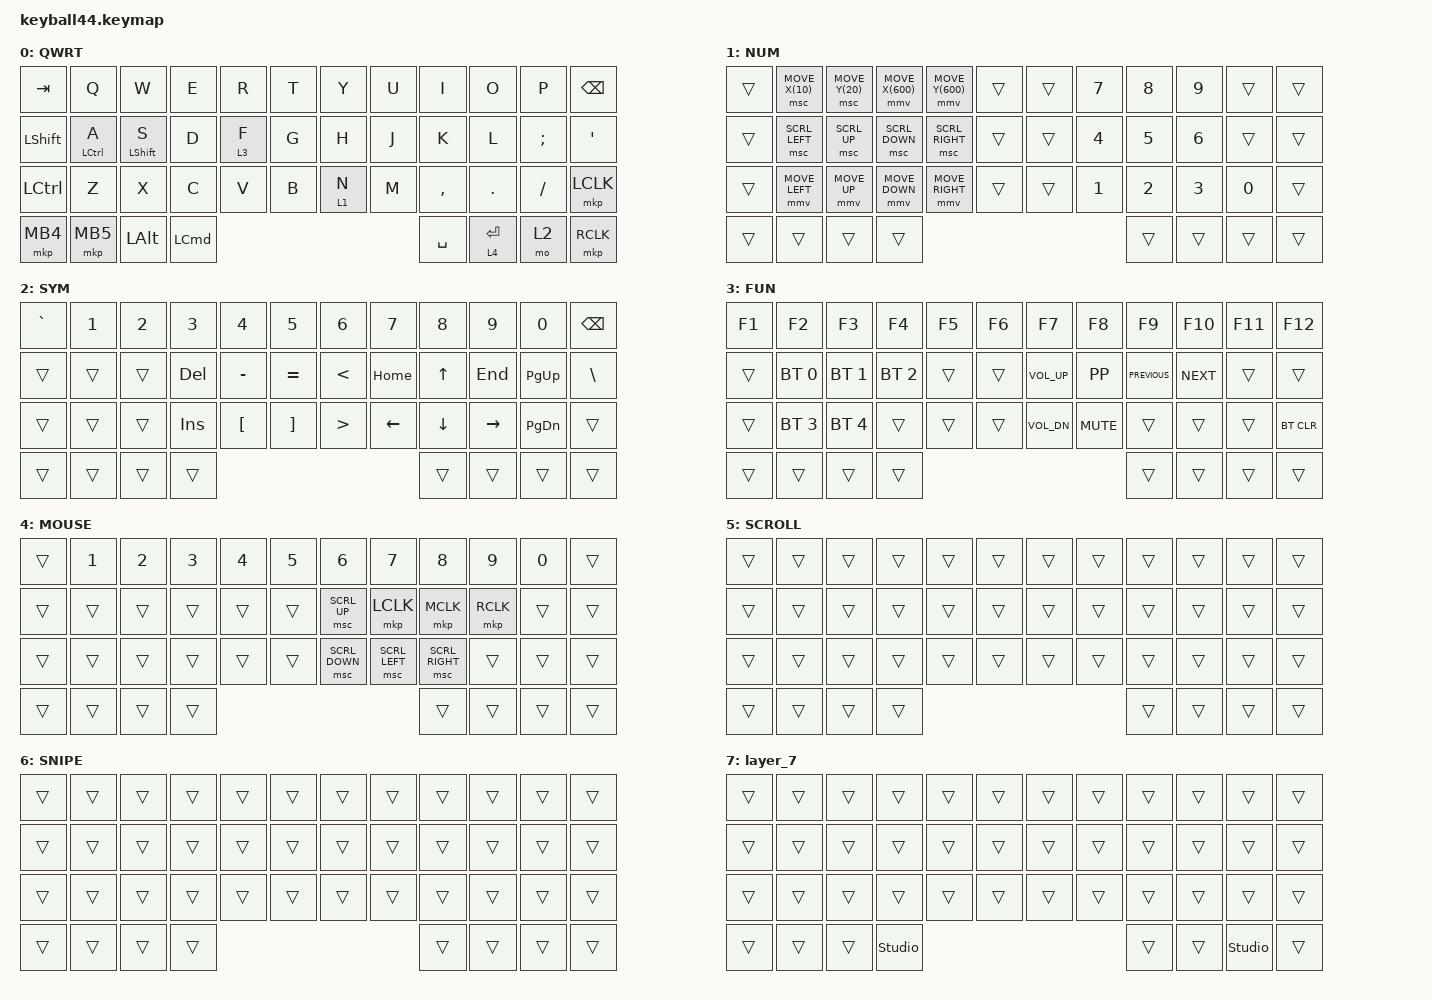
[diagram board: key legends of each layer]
#define DEFAULT 0
#define NUM     1
#define SYM     2
#define FUN     3
#define MOUSE   4
#define SCROLL  5
#define SNIPE   6
#define ZMK_POINTING_DEFAULT_MOVE_VAL 1500  // default: 600
#define ZMK_POINTING_DEFAULT_SCRL_VAL 80    // default: 10

#include <behaviors/mouse_keys.dtsi>
#include <dt-bindings/zmk/mouse.h>
#include <behaviors.dtsi>
#include <dt-bindings/zmk/bt.h>
#include <dt-bindings/zmk/keys.h>
#include <dt-bindings/zmk/pointing.h>

&lt {
    tapping-term-ms = <240>;
    flavor = "balanced";
    quick-tap-ms = <150>;
};

&mt {
    tapping-term-ms = <200>;
    flavor = "tap-preferred";
    quick-tap-ms = <150>;
};

&caps_word { continue-list = <UNDERSCORE MINUS>; };

/ {
    // custom shift using mod-morph 

    behaviors {
        cmqus: comma_question {
            compatible = "zmk,behavior-mod-morph";
            label = "COMMA_QUESTION";
            #binding-cells = <0>;
            bindings = <&kp COMMA>, <&kp QUESTION>;

            mods = <(MOD_LSFT|MOD_RSFT)>;
        };

        dtsmi: dot_semi {
            compatible = "zmk,behavior-mod-morph";
            label = "DOT_SEMI";
            #binding-cells = <0>;
            bindings = <&kp DOT>, <&kp SEMI>;

            mods = <(MOD_LSFT|MOD_RSFT)>;
        };
    };

    macros {
        relay_512: relay_512 {
            compatible = "zmk,behavior-macro";
            #binding-cells = <0>;
            bindings =
                <&kp M &kp Y &kp R &kp E &kp L &kp A &kp Y>,
                <&macro_wait_time 1000>,
                <&kp RET &kp S>,
                <&macro_wait_time 20>,
                <&kp RET &kp N5 &kp N1>,
                <&macro_wait_time 500>,
                <&kp N2 &kp RET &kp N1 &kp RET>;

            label = "RELAY_512";
        };
    };

    combos {
        compatible = "zmk,combos";

        KP_ESC {
            bindings = <&kp ESC>;
            key-positions = <0 1>;
        };
    };

    keymap {
        compatible = "zmk,keymap";

        default_layer {
            label = "QWRT";

            // -----------------------------------------------------------------------------------------
            // |  TAB |  Q  |  W  |  E  |  R  |  T  |   |  Y  |  U   |  I  |  O  |  P  | BKSP |
            // | CTRL |  A  |  S  |  D  |  F  |  G  |   |  H  |  J   |  K  |  L  |  ;  |  '   |
            // | SHFT |  Z  |  X  |  C  |  V  |  B  |   |  N  |  M   |  ,  |  .  |  /  | ESC  |
            //                    | GUI | LWR | SPC |   | ENT | RSE  | ALT |

            bindings = <
&kp TAB         &kp Q        &kp W             &kp E             &kp R      &kp T                   &kp Y    &kp U  &kp I      &kp O    &kp P     &kp BSPC
&kp LEFT_SHIFT  &mt LCTRL A  &mt LEFT_SHIFT S  &kp D             &lt 3 F    &kp G                   &kp H    &kp J  &kp K      &kp L    &kp SEMI  &kp SQT
&kp LCTRL       &kp Z        &kp X             &kp C             &kp V      &kp B                   &lt 1 N  &kp M  &kp COMMA  &kp DOT  &kp FSLH  &mkp LCLK
&mkp MB4        &mkp MB5     &kp LALT          &kp LEFT_COMMAND  &kp SPACE             &lt 4 ENTER  &mo 2                                         &mkp RCLK
            >;
        };

        number_layer {
            label = "NUM";

            // -----------------------------------------------------------------------------------------
            // |  TAB |  !  |  @  |  #  |  $  |  %  |   |  ^  |  &  |  *  |  (  |  )  | BKSP |
            // | CTRL |     |     |     |     |     |   |  -  |  =  |  [  |  ]  |  \  |  `   |
            // | SHFT |     |     |     |     |     |   |  _  |  +  |  {  |  }  | "|" |  ~   |
            //                    | GUI |     | SPC |   | ENT |     | ALT |

            bindings = <
&trans  &msc MOVE_X(10)  &msc MOVE_Y(20)  &mmv MOVE_X(600)  &mmv MOVE_Y(600)  &trans              &trans  &kp NUMBER_7  &kp NUMBER_8  &kp N9        &trans  &trans
&trans  &msc SCRL_LEFT   &msc SCRL_UP     &msc SCRL_DOWN    &msc SCRL_RIGHT   &trans              &trans  &kp NUMBER_4  &kp N5        &kp NUMBER_6  &trans  &trans
&trans  &mmv MOVE_LEFT   &mmv MOVE_UP     &mmv MOVE_DOWN    &mmv MOVE_RIGHT   &trans              &trans  &kp NUMBER_1  &kp NUMBER_2  &kp NUMBER_3  &kp N0  &trans
&trans  &trans           &trans           &trans            &trans                        &trans  &trans                                                    &trans
            >;
        };

        symbol_layer {
            label = "SYM";

            // -----------------------------------------------------------------------------------------
            // |  TAB |  1  |  2  |  3  |  4  |  5  |   |  6  |  7  |  8  |  9  |  0  | BKSP |
            // | BTCLR| BT1 | BT2 | BT3 | BT4 | BT5 |   | LFT | DWN |  UP | RGT |     |      |
            // | SHFT |     |     |     |     |     |   |     |     |     |     |     |      |
            //                    | GUI |     | SPC |   | ENT |     | ALT |

            bindings = <
&kp GRAVE  &kp NUMBER_1  &kp NUMBER_2  &kp NUMBER_3  &kp NUMBER_4      &kp NUMBER_5                   &kp NUMBER_6      &kp NUMBER_7  &kp N8          &kp N9     &kp N0         &kp BACKSPACE
&trans     &trans        &trans        &kp DEL       &kp MINUS         &kp EQUAL                      &kp LESS_THAN     &kp HOME      &kp UP_ARROW    &kp END    &kp PG_UP      &kp BACKSLASH
&trans     &trans        &trans        &kp INS       &kp LEFT_BRACKET  &kp RIGHT_BRACKET              &kp GREATER_THAN  &kp LEFT      &kp DOWN_ARROW  &kp RIGHT  &kp PAGE_DOWN  &trans
&trans     &trans        &trans        &trans        &trans                                   &trans  &trans                                                                    &trans
            >;
        };

        function_layer {
            label = "FUN";
            bindings = <
&kp F1  &kp F2        &kp F3        &kp F4        &kp F5  &kp F6              &kp F7           &kp F8      &kp F9          &kp F10     &kp F11  &kp F12
&trans  &bt BT_SEL 0  &bt BT_SEL 1  &bt BT_SEL 2  &trans  &trans              &kp C_VOLUME_UP  &kp K_PP    &kp C_PREVIOUS  &kp C_NEXT  &trans   &trans
&trans  &bt BT_SEL 3  &bt BT_SEL 4  &trans        &trans  &trans              &kp C_VOL_DN     &kp K_MUTE  &trans          &trans      &trans   &bt BT_CLR
&trans  &trans        &trans        &trans        &trans              &trans  &trans                                                            &trans
            >;
        };

        mouse_layer {
            label = "MOUSE";
            bindings = <
&trans  &kp NUMBER_1  &kp NUMBER_2  &kp NUMBER_3  &kp NUMBER_4  &kp N5              &kp NUMBER_6    &kp N7          &kp N8           &kp N9     &kp N0  &trans
&trans  &trans        &trans        &trans        &trans        &trans              &msc SCRL_UP    &mkp LCLK       &mkp MCLK        &mkp RCLK  &trans  &trans
&trans  &trans        &trans        &trans        &trans        &trans              &msc SCRL_DOWN  &msc SCRL_LEFT  &msc SCRL_RIGHT  &trans     &trans  &trans
&trans  &trans        &trans        &trans        &trans                    &trans  &trans                                                              &trans
            >;
        };

        scroll_layer {
            label = "SCROLL";
            bindings = <
&trans  &trans  &trans  &trans  &trans  &trans              &trans  &trans  &trans  &trans  &trans  &trans
&trans  &trans  &trans  &trans  &trans  &trans              &trans  &trans  &trans  &trans  &trans  &trans
&trans  &trans  &trans  &trans  &trans  &trans              &trans  &trans  &trans  &trans  &trans  &trans
&trans  &trans  &trans  &trans  &trans              &trans  &trans                                  &trans
            >;
        };

        snipe_layer {
            label = "SNIPE";
            bindings = <
&trans  &trans  &trans  &trans  &trans  &trans              &trans  &trans  &trans  &trans  &trans  &trans
&trans  &trans  &trans  &trans  &trans  &trans              &trans  &trans  &trans  &trans  &trans  &trans
&trans  &trans  &trans  &trans  &trans  &trans              &trans  &trans  &trans  &trans  &trans  &trans
&trans  &trans  &trans  &trans  &trans              &trans  &trans                                  &trans
            >;
        };

        layer_7 {
            bindings = <
&trans  &trans  &trans  &trans          &trans  &trans              &trans          &trans  &trans  &trans  &trans  &trans
&trans  &trans  &trans  &trans          &trans  &trans              &trans          &trans  &trans  &trans  &trans  &trans
&trans  &trans  &trans  &trans          &trans  &trans              &trans          &trans  &trans  &trans  &trans  &trans
&trans  &trans  &trans  &studio_unlock  &trans              &trans  &studio_unlock                                  &trans
            >;
        };
    };
};
